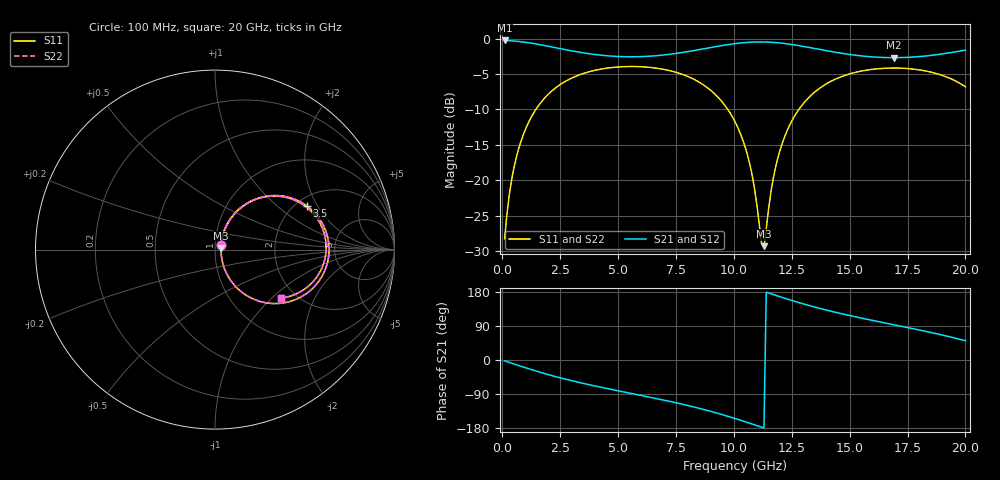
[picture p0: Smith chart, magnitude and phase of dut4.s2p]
! Touchstone file exported from HFSS 2026.1.0
!  File:  C:/ffzhzh/LocalFiles/Ansys_Project_Files/temp_test_TSV_RDL_4_1782978491_15332.aedt
!  Generated:  04:08:04 PM Jul  2, 2026
!  Design:  TSV_RDL
!  Project:  temp_test_TSV_RDL_4_1782978491_15332
! Variables:
!  h_bsmrdl = 5.99um
!  h_ox = 20um
!  h_rdl = 5um
!  h_sub = 66.93um
!  h_tmrdl = 4.41um
!  h_tsv = 66.93um
!  h_via = 3um
!  l_bsmrdl = 720.72um
!  l_sub = 5551.68um
!  l_tmrdl = 719.06um
!  m_sub = 200um
!  pitch = 54.64um
!  r_tsv = 2.16um
!  s_tmrdl = 10um
!  w_bsmrdl = 20.17um
!  w_sub = 500um
!  w_tmrdl = 17.59um
!  x_tsv_center1 = 727.855um
!  x_tsv_center2 = 1468.745um
!  x_tsv_center3 = 2205.395um
!  x_tsv_center4 = 2946.285um
!  x_tsv_center5 = 3682.935um
!  x_tsv_center6 = 4423.825um
# GHz S MA R 50.000000
! Terminal data exported
! Port[1] = TM_RDL1_1_T1
! Port[2] = TM_RDL5_1_T1
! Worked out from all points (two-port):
!   200 points, 100 MHz to 20 GHz, reference 50 ohm
!   highest |S21| = -0.27 dB at 100 MHz (marker M1); lowest = -2.7 dB at 16.9 GHz (marker M2)
!   |S21| within 3 dB of the highest: start of sweep to end of sweep
!   lowest |S11| = -29.3 dB at 11.3 GHz (marker M3), VSWR 1.07, Z = 53.4 + j0.936 ohm
!   |S11| at or under -10 dB: start of sweep to 1.45 GHz; 9.739 GHz to 12.81 GHz (3.069 GHz wide, 27.2 % of centre)
!   |S22| runs from -29.2 to -3.9 dB; largest |S21 - S12| = 1.7e-14
!   S11 on the Smith chart (normalised r, x): 100 MHz: 1.06, +0.05; 3.5 GHz: 2.29, +1.64; 20 GHz: 1.68, -1.15
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0.1  0.03879 37.3  0.9698 -2.1  0.9698 -2.1  0.03879 37.3
! Gamma 0 0 0 0
! Port Impedance 50 0 50 0
0.3  0.0786 60.3  0.9662 -6.3  0.9662 -6.3  0.0786 60.3
0.5  0.1223 64.4  0.9611 -10.4  0.9611 -10.4  0.1223 64.4
1.1  0.2495 60.2  0.9363 -22.4  0.9363 -22.4  0.2495 60.2
2.1  0.4216 45.1  0.8748 -40.5  0.8748 -40.5  0.4216 45.1
3.5  0.5674 25.3  0.793 -61.8  0.793 -61.8  0.5674 25.3
5.1  0.6322 5.7  0.7463 -82.4  0.7463 -82.4  0.6322 5.7
6.8  0.6134 -14.4  0.761 -103.5  0.761 -103.5  0.6134 -14.4
8.7  0.4701 -39.6  0.8469 -130.6  0.8469 -130.6  0.4701 -39.5
10.1  0.2496 -59.9  0.9232 -155.3  0.9232 -155.3  0.2496 -59.9
10.7  0.1277 -64.0  0.9425 -167.1  0.9425 -167.1  0.1278 -63.9
11.2  0.03561 -20.3  0.947 -177.2  0.947 -177.2  0.03586 -20.1
11.3  0.03438 14.7  0.9465 -179.2  0.9465 -179.2  0.03466 14.7
11.6  0.08244 59.7  0.9423 174.7  0.9423 174.7  0.08258 59.5
12  0.1644 64.0  0.9307 166.8  0.9307 166.8  0.1645 63.9
12.6  0.28 57.8  0.9032 155.4  0.9032 155.4  0.2801 57.7
13.4  0.4072 46.3  0.8567 141.3  0.8567 141.3  0.4072 46.3
15.1  0.5694 23.4  0.7683 116.0  0.7683 116.0  0.5694 23.4
16.7  0.6191 4.4  0.7336 95.6  0.7336 95.6  0.6191 4.4
16.9  0.6197 2.1  0.7332 93.1  0.7332 93.1  0.6197 2.1
18.4  0.5856 -15.5  0.7572 74.1  0.7572 74.1  0.5856 -15.5
20  0.4573 -36.2  0.8289 50.9  0.8289 50.9  0.4572 -36.2
